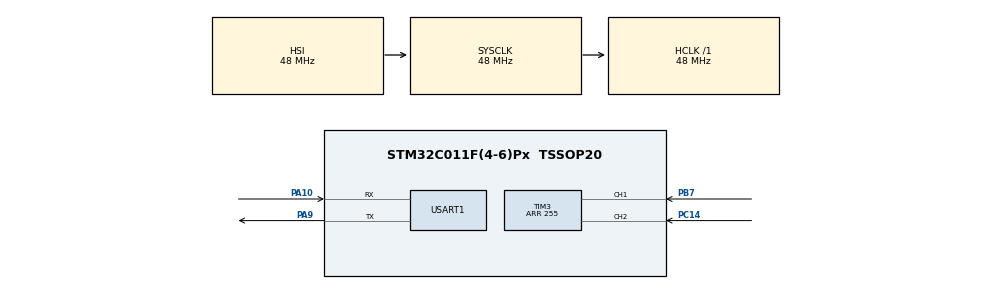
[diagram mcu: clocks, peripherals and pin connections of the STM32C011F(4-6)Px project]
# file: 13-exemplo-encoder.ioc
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Mcu.Family=STM32C0
Mcu.Name=STM32C011F(4-6)Px
Mcu.Package=TSSOP20
NVIC.TIM3_IRQn=true\:0\:0\:false\:false\:true\:true\:true\:true
PA10\ [PA12].Mode=Asynchronous
PA10\ [PA12].Signal=USART1_RX
PA13.Mode=Serial_Wire
PA13.Signal=DEBUG_SWDIO
PA14-BOOT0.Mode=Serial_Wire
PA14-BOOT0.Signal=DEBUG_SWCLK
PA9\ [PA11].Mode=Asynchronous
PA9\ [PA11].Signal=USART1_TX
PB7.GPIO_ModeDefaultPP=GPIO_MODE_AF_PP
PB7.GPIO_PuPd=GPIO_NOPULL
PB7.Signal=S_TIM3_CH1
PC14-OSCX_IN\ (PC14).GPIO_ModeDefaultPP=GPIO_MODE_AF_PP
PC14-OSCX_IN\ (PC14).GPIO_PuPd=GPIO_NOPULL
PC14-OSCX_IN\ (PC14).Signal=S_TIM3_CH2
ProjectManager.HeapSize=0x200
ProjectManager.StackSize=0x400
ProjectManager.TargetToolchain=STM32CubeIDE
RCC.ADCFreq_Value=48000000
RCC.AHBFreq_Value=48000000
RCC.CortexFreq_Value=48000000
RCC.EXTERNAL_CLOCK_VALUE=12288000
RCC.HCLKFreq_Value=48000000
RCC.HSE_VALUE=8000000
RCC.HSISYSCLKDivider=RCC_HSI_DIV1
RCC.HSI_VALUE=48000000
RCC.LSE_VALUE=32768
RCC.SYSCLKFreq_VALUE=48000000
SH.S_TIM3_CH1.0=TIM3_CH1,Encoder_Interface
SH.S_TIM3_CH2.0=TIM3_CH2,Encoder_Interface
TIM3.AutoReloadPreload=TIM_AUTORELOAD_PRELOAD_ENABLE
TIM3.ClockDivision=TIM_CLOCKDIVISION_DIV1
TIM3.EncoderMode=TIM_ENCODERMODE_TI12
TIM3.IC1Filter=10
TIM3.IC1Polarity=TIM_ICPOLARITY_FALLING
TIM3.IC1Prescaler=TIM_ICPSC_DIV1
TIM3.IC2Filter=10
TIM3.IC2Polarity=TIM_ICPOLARITY_FALLING
TIM3.IC2Prescaler=TIM_ICPSC_DIV1
TIM3.Period=255
USART1.VirtualMode-Asynchronous=VM_ASYNC
VP_SYS_VS_PINREMAP.Mode=PINREMAP
VP_SYS_VS_PINREMAP_10_12.Mode=PINREMAP_10_12
board=custom

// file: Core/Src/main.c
/* USER CODE BEGIN Header */
/**
  ******************************************************************************
  * @file           : main.c
  * @brief          : Main program body
  ******************************************************************************
  * @attention
  *
  * Copyright (c) 2023 STMicroelectronics.
  * All rights reserved.
  *
  * This software is licensed under terms that can be found in the LICENSE file
  * in the root directory of this software component.
  * If no LICENSE file comes with this software, it is provided AS-IS.
  *
  ******************************************************************************
  */
/* USER CODE END Header */
#include "main.h"
#include "tim.h"
#include "usart.h"
#include "gpio.h"

/* USER CODE BEGIN Includes */

#include <stdio.h>
#include <string.h>

#include "encoder.h"
#include "isr.h"

/* USER CODE END Includes */

void SystemClock_Config(void);

int main(void)
{
  /* USER CODE BEGIN 1 */

	int8_t output = 0;

	char uart_buffer[40];

  /* USER CODE END 1 */

  /* MCU Configuration--------------------------------------------------------*/

  /* Reset of all peripherals, Initializes the Flash interface and the Systick. */
  HAL_Init();

  /* Configure the system clock */
  SystemClock_Config();

  /* Initialize all configured peripherals */
  MX_GPIO_Init();
  MX_TIM3_Init();
  MX_USART1_UART_Init();
  /* USER CODE BEGIN 2 */

  HAL_TIM_Encoder_Start_IT(&htim3, TIM_CHANNEL_ALL);	// Inicia leitura do encoder por interrupção do timer

  /* USER CODE END 2 */

  /* Infinite loop */
  /* USER CODE BEGIN WHILE */
  while (1)
  {
	  if (flag_encoder_changed)
	  {
		  if 	  (encoder_prev_counter == ENCODER_COUNTER_MAX
		            &&  encoder_counter == ENCODER_COUNTER_MIN)
		  {
			  output++;
		  }
		  else if (encoder_prev_counter == ENCODER_COUNTER_MIN
			        &&  encoder_counter == ENCODER_COUNTER_MAX)
		  {
			  output--;
		  }
		  else if (encoder_prev_counter < encoder_counter)
		  {
			  output++;
		  }
		  else
		  {
			  output--;
		  }

		  encoder_prev_counter = encoder_counter;

		  if (output > ENCODER_OUTPUT_MAX)
		  {
			  output = ENCODER_OUTPUT_MAX;
		  }
		  if (output < ENCODER_OUTPUT_MIN)
		  {
			  output = ENCODER_OUTPUT_MIN;
		  }

		  sprintf(uart_buffer, "Counter: %3u ; Output: %3d \r\n", encoder_counter, output);
		  HAL_UART_Transmit(&huart1, (uint8_t *)uart_buffer, strlen(uart_buffer), 100);

		  flag_encoder_changed = 0;
	  }
//	 counter = (TIM3->CNT);
//	 if (counter != prev_counter)
//	 {
//		 if (counter > prev_counter)
//		 {
//			 output++;
//		 }
//		 else
//		 {
//			 output--;
//		 }
//		 prev_counter = counter;
//
//		 sprintf(uart_buffer, "%3u \r\n", output);
//		 HAL_UART_Transmit(&huart1, (uint8_t *)uart_buffer, strlen(uart_buffer), 100);
//	 }
    /* USER CODE END WHILE */

  }
}

void SystemClock_Config(void)
{
  RCC_OscInitTypeDef RCC_OscInitStruct = {0};
  RCC_ClkInitTypeDef RCC_ClkInitStruct = {0};

  /** Initializes the RCC Oscillators according to the specified parameters
  * in the RCC_OscInitTypeDef structure.
  */
  RCC_OscInitStruct.OscillatorType = RCC_OSCILLATORTYPE_HSI;
  RCC_OscInitStruct.HSIState = RCC_HSI_ON;
  RCC_OscInitStruct.HSIDiv = RCC_HSI_DIV1;
  RCC_OscInitStruct.HSICalibrationValue = RCC_HSICALIBRATION_DEFAULT;
  if (HAL_RCC_OscConfig(&RCC_OscInitStruct) != HAL_OK)
  {
    Error_Handler();
  }

  /** Initializes the CPU, AHB and APB buses clocks
  */
  RCC_ClkInitStruct.ClockType = RCC_CLOCKTYPE_HCLK|RCC_CLOCKTYPE_SYSCLK
                              |RCC_CLOCKTYPE_PCLK1;
  RCC_ClkInitStruct.SYSCLKSource = RCC_SYSCLKSOURCE_HSI;
  RCC_ClkInitStruct.SYSCLKDivider = RCC_SYSCLK_DIV1;
  RCC_ClkInitStruct.AHBCLKDivider = RCC_HCLK_DIV1;
  RCC_ClkInitStruct.APB1CLKDivider = RCC_APB1_DIV1;

  if (HAL_RCC_ClockConfig(&RCC_ClkInitStruct, FLASH_LATENCY_1) != HAL_OK)
  {
    Error_Handler();
  }
}

void Error_Handler(void)
{
  __disable_irq();
  while (1)
  {
  }
}
